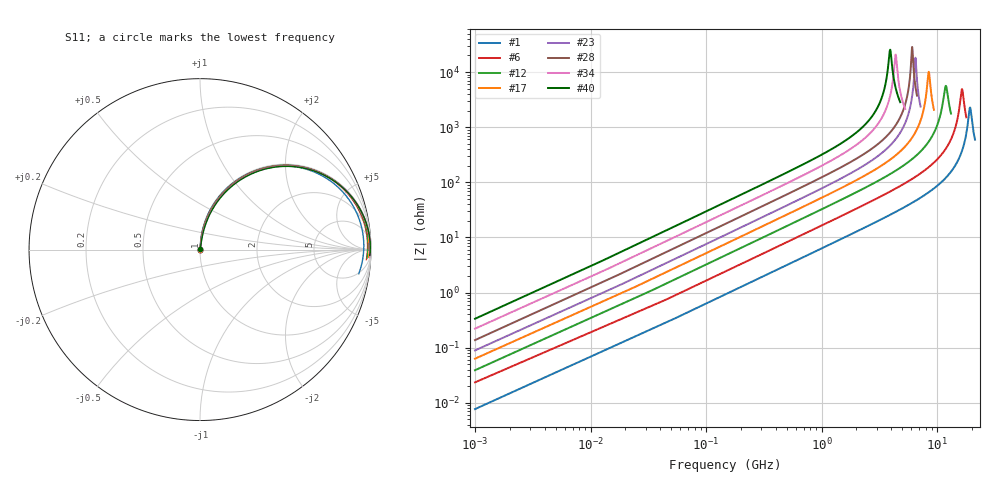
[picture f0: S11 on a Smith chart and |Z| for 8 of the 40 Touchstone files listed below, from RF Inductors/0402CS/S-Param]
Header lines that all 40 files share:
# MHZ S MA R 50
!Freq  MagS11  AngS11  MagS21  AngS21  MagS12  AngS12  MagS22  AngS22
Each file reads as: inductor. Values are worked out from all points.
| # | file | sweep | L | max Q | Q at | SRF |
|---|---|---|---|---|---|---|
| 1 | 04CS1N0.S2P | 1 MHz to 21.3 GHz | 1 nH | 109 | 4.94 GHz | 19.32 GHz |
| 2 | 04CS1N9.S2P | 1 MHz to 21.2 GHz | 1.9 nH | 72.6 | 5.341 GHz | 19.27 GHz |
| 3 | 04CS2N0.S2P | 1 MHz to 18.1 GHz | 2 nH | 80.1 | 4.333 GHz | 16.44 GHz |
| 4 | 04CS2N2.S2P | 1 MHz to 17.9 GHz | 2.2 nH | 101 | 4.108 GHz | 16.2 GHz |
| 5 | 04CS2N4.S2P | 1 MHz to 17.9 GHz | 2.4 nH | 67.8 | 4.733 GHz | 16.69 GHz |
| 6 | 04CS2N7.S2P | 1 MHz to 17.9 GHz | 2.6 nH | 68.1 | 4.733 GHz | 16.47 GHz |
| 7 | 04CS3N3.S2P | 1 MHz to 14.8 GHz | 3.3 nH | 86.3 | 3.581 GHz | 13.38 GHz |
| 8 | 04CS3N6.S2P | 1 MHz to 14.7 GHz | 3.6 nH | 83.6 | 3.117 GHz | 13.31 GHz |
| 9 | 04CS3N9.S2P | 1 MHz to 14.7 GHz | 3.9 nH | 67.1 | 3.374 GHz | 13.29 GHz |
| 10 | 04CS4N3.S2P | 1 MHz to 14.7 GHz | 4.3 nH | 76.4 | 3.484 GHz | 13.6 GHz |
| 11 | 04CS4N7.S2P | 1 MHz to 14.4 GHz | 4.7 nH | 60.5 | 3.556 GHz | 13.01 GHz |
| 12 | 04CS5N1.S2P | 1 MHz to 13.2 GHz | 5.1 nH | 82.6 | 3.063 GHz | 11.94 GHz |
| 13 | 04CS5N6.S2P | 1 MHz to 11.9 GHz | 5.6 nH | 85.6 | 2.879 GHz | 10.78 GHz |
| 14 | 04CS6N2.S2P | 1 MHz to 11 GHz | 6.2 nH | 77.6 | 2.799 GHz | 9.993 GHz |
| 15 | 04CS6N8.S2P | 1 MHz to 10.7 GHz | 6.7 nH | 63.7 | 2.589 GHz | 8.885 GHz |
| 16 | 04CS7N5.S2P | 1 MHz to 10.7 GHz | 7.5 nH | 78.1 | 2.829 GHz | 9.686 GHz |
| 17 | 04CS8N2.S2P | 1 MHz to 9.4 GHz | 8.2 nH | 69.9 | 2.579 GHz | 8.463 GHz |
| 18 | 04CS8N7.S2P | 1 MHz to 9.9 GHz | 8.7 nH | 63.2 | 2.939 GHz | 9.531 GHz |
| 19 | 04CS9N0.S2P | 1 MHz to 8.7 GHz | 9 nH | 73.9 | 2.127 GHz | 7.834 GHz |
| 20 | 04CS9N5.S2P | 1 MHz to 8.6 GHz | 9.5 nH | 57 | 2.381 GHz | 7.792 GHz |
| 21 | 04CS10N.S2P | 1 MHz to 8.3 GHz | 10 nH | 61.4 | 2.05 GHz | 7.436 GHz |
| 22 | 04CS11N.S2P | 1 MHz to 8.6 GHz | 11 nH | 76.4 | 2.317 GHz | 7.784 GHz |
| 23 | 04CS12N.S2P | 1 MHz to 7.2 GHz | 12 nH | 74.1 | 2.191 GHz | 6.481 GHz |
| 24 | 04CS13N.S2P | 1 MHz to 7.2 GHz | 13 nH | 69 | 1.976 GHz | 6.499 GHz |
| 25 | 04CS15N.S2P | 1 MHz to 7.3 GHz | 15 nH | 70.1 | 1.748 GHz | 6.594 GHz |
| 26 | 04CS16N.S2P | 1 MHz to 7.3 GHz | 16 nH | 65.4 | 1.857 GHz | 5.679 GHz |
| 27 | 04CS18N.S2P | 1 MHz to 7.3 GHz | 18 nH | 68.2 | 2.094 GHz | 6.735 GHz |
| 28 | 04CS19N.S2P | 1 MHz to 6.7 GHz | 19 nH | 78.2 | 2.04 GHz | 6.083 GHz |
| 29 | 04CS20N.S2P | 1 MHz to 6.7 GHz | 20 nH | 62.9 | 1.789 GHz | 5.415 GHz |
| 30 | 04CS22N.S2P | 1 MHz to 6.7 GHz | 22 nH | 64.3 | 1.923 GHz | 5.816 GHz |
| 31 | 04CS23N.S2P | 1 MHz to 6.7 GHz | 23 nH | 68.3 | 1.822 GHz | 5.532 GHz |
| 32 | 04CS24N.S2P | 1 MHz to 6.2 GHz | 24 nH | 58.9 | 1.609 GHz | 4.84 GHz |
| 33 | 04CS27N.S2P | 1 MHz to 6.2 GHz | 27 nH | 65.9 | 1.686 GHz | 5.103 GHz |
| 34 | 04CS30N.S2P | 1 MHz to 5.3 GHz | 30 nH | 57.8 | 1.414 GHz | 4.374 GHz |
| 35 | 04CS33N.S2P | 1 MHz to 5 GHz | 33 nH | 54.3 | 1.335 GHz | 4.129 GHz |
| 36 | 04CS36N.S2P | 1 MHz to 5 GHz | 36 nH | 54.3 | 1.373 GHz | 4.141 GHz |
| 37 | 04CS39N.S2P | 1 MHz to 5.2 GHz | 39 nH | 60.6 | 1.48 GHz | 4.566 GHz |
| 38 | 04CS40N.S2P | 1 MHz to 4.8 GHz | 40 nH | 57.2 | 1.27 GHz | 3.975 GHz |
| 39 | 04CS43N.S2P | 1 MHz to 5.1 GHz | 43 nH | 58.2 | 1.375 GHz | 4.224 GHz |
| 40 | 04CS47N.S2P | 1 MHz to 4.8 GHz | 47 nH | 61.2 | 1.21 GHz | 3.915 GHz |
